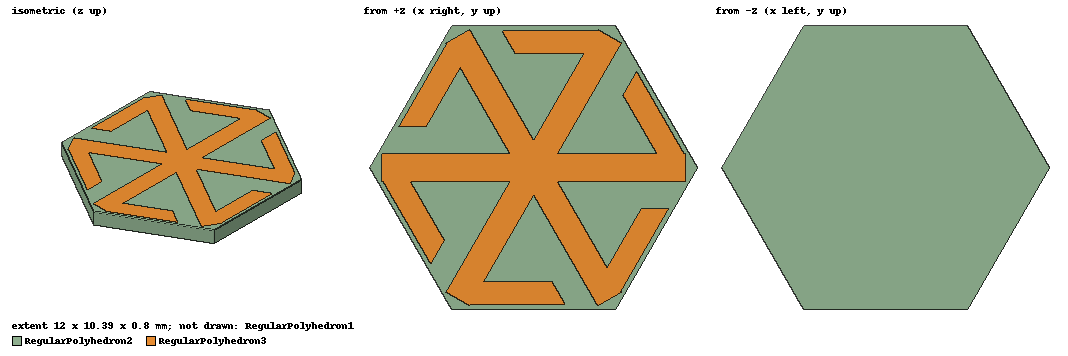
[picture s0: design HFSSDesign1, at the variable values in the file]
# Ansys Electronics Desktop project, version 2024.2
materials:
  vacuum: permittivity=1
  FR4_epoxy: permittivity=4.4 dielectric_loss_tangent=0.02
  copper: permeability=0.999991 conductivity=58000000

design HFSSDesign1 (HFSS, HFSS Modal Network, model units mm)
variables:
  ex = 0mm
  s = 6mm
  l = 5.8mm
  t = 1mm
  Ph = 8deg
  Th = 0deg
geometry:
  RegularPolyhedron1 [vacuum] = polyhedron(axis=Z, centre=(0mm, 0mm, 15mm), first_corner=(-s, 0mm, 15mm), sides=6, height=-30.8mm)
  RegularPolyhedron2 [FR4_epoxy] = polyhedron(axis=Z, centre=(0mm, 0mm, 0mm), first_corner=(-s, 0mm, 0mm), sides=6, height=-0.8mm)
  Rectangle4 = rectangle(corner=(-l+t/4, t/2, 0mm), x_size=l, y_size=-t)
  RegularPolyhedron3 [FR4_epoxy] = polyhedron(axis=Z, centre=(0mm, 0mm, 0mm), first_corner=(-l, 0mm, 0mm), sides=6, height=0mm)
  RegularPolyhedron4 = polyhedron(axis=Z, centre=(0mm, 0mm, 0mm), first_corner=(-l+t, 0mm, 0mm), sides=6, height=0mm)
  Rectangle5 = rectangle(corner=(-l-t, -t/2, 0mm), x_size=l+t+t, y_size=2*t)
  RegularPolyhedron3.subtract(RegularPolyhedron4)
  Rectangle5_1..Rectangle5_5 = Rectangle5.duplicate_around_axis(axis=Z, angle=60deg, total=6)
  Rectangle4_1..Rectangle4_5 = Rectangle4.duplicate_around_axis(axis=Z, angle=60deg, total=6)
  Rectangle5.unite(Rectangle5_1..Rectangle5_5)
  RegularPolyhedron3.subtract(Rectangle5)
  RegularPolyhedron3.unite(Rectangle4, Rectangle4_1..Rectangle4_5)
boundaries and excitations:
  Primary1: Primary Faces=RegularPolyhedron1.face(at (4.5, 2.59808, -0.4)) CoordSysVector{(6, 0, -15.8) -> (6, 0, 15)}
  Primary2: Primary Faces=RegularPolyhedron1.face(at (0, 5.19615, -0.4)) CoordSysVector{(3, 5.1961524, -15.8) -> (3, 5.1961524, 15)}
  Primary3: Primary Faces=RegularPolyhedron1.face(at (-4.5, 2.59808, -0.4)) CoordSysVector{(-3, 5.1961524, -15.8) -> (-3, 5.1961524, 15)}
  Secondary1: Secondary Faces=RegularPolyhedron1.face(at (-4.5, -2.59808, -0.4)) CoordSysVector{(-3, -5.1961524, -15.8) -> (-3, -5.1961524, 15)} ReverseV primary=Primary1 PhaseDelay=UseScanAngle Phi=Ph Theta=Th
  Secondary2: Secondary Faces=RegularPolyhedron1.face(at (0, -5.19615, -0.4)) CoordSysVector{(3, -5.1961524, -15.8) -> (3, -5.1961524, 15)} ReverseV primary=Primary2 PhaseDelay=UseScanAngle Phi=Ph Theta=Th
  Secondary3: Secondary Faces=RegularPolyhedron1.face(at (4.5, -2.59808, -0.4)) CoordSysVector{(6, 0, -15.8) -> (6, 0, 15)} ReverseV primary=Primary3 PhaseDelay=UseScanAngle Phi=Ph Theta=Th
  PerfE1: Perfect E Objects=RegularPolyhedron3
  FloquetPort1: Floquet Port Faces=RegularPolyhedron1.face(at (0, 0, 15)) NumModes=2 Modes{Mode1{CharImp=Zpi} Mode2{CharImp=Zpi}} PhaseDelay=UseScanAngle Phi=Ph Theta=Th LatticeAVector{(6, 0, 15) -> (-3, 5.1961524, 15)} LatticeBVector{(6, 0, 15) -> (-3, -5.1961524, 15)} ModesList{Mode{ModeNumber=1 IndexM=0 IndexN=0 KC2=0 PropagationState=Propagating Attenuation=0 PolarizationState=TE AffectsRefinement} Mode{ModeNumber=2 IndexM=0 IndexN=0 KC2=0 PropagationState=Propagating Attenuation=0 PolarizationState=TM AffectsRefinement}}
  FloquetPort2: Floquet Port Faces=RegularPolyhedron1.face(at (0, 0, -15.8)) NumModes=2 Modes{Mode1{CharImp=Zpi} Mode2{CharImp=Zpi}} PhaseDelay=UseScanAngle Phi=Ph Theta=Th LatticeAVector{(6, 0, -15.8) -> (-3, 5.1961524, -15.8)} LatticeBVector{(6, 0, -15.8) -> (-3, -5.1961524, -15.8)} ModesList{Mode{ModeNumber=1 IndexM=0 IndexN=0 KC2=0 PropagationState=Propagating Attenuation=0 PolarizationState=TE AffectsRefinement} Mode{ModeNumber=2 IndexM=0 IndexN=0 KC2=0 PropagationState=Propagating Attenuation=0 PolarizationState=TM AffectsRefinement}}
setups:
  Setup1: HfssDrivenAuto AutoSolverSetting=Balanced SaveAnyFields=false Type=Interpolating
    sweep Sweep: 0.1GHz to 30GHz step 0.01GHz;
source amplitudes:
  FloquetPort1:1: 1W 0deg
  FloquetPort1:2, FloquetPort2:1, FloquetPort2:2: 0W 0deg
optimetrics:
  ParametricSetup1: Parametric Sim._Setups=[Setup1]
    sweep t: LIN 0.2mm 0.7mm 0.1mm
    sweep l: 2.5mm
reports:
  S Parameter Plot 1: dB(S(FloquetPort1:1,FloquetPort1:1)), dB(S(FloquetPort2:1,FloquetPort1:1)), dB(S(FloquetPort1:1,FloquetPort1:1)), dB(S(FloquetPort2:1,FloquetPort1:1)) vs Freq on Setup1 : Sweep; markers MY1 at y=-10
  S Parameter Plot 2: dB(S(FloquetPort1:1,FloquetPort1:1)), dB(S(FloquetPort2:1,FloquetPort1:1)) vs Freq on Setup1 : Sweep
  S Parameter Plot 3: dB(S(FloquetPort1:1,FloquetPort1:1)), dB(S(FloquetPort2:1,FloquetPort1:1)) vs Freq on Setup1 : Sweep
  S Parameter Plot 4: dB(S(FloquetPort1:1,FloquetPort1:1)), dB(S(FloquetPort2:1,FloquetPort1:1)), dB(S(FloquetPort1:2,FloquetPort1:2)), dB(S(FloquetPort2:2,FloquetPort1:2)) vs Freq on Setup1 : Sweep
  S Parameter Plot 5: dB(S(FloquetPort1:1,FloquetPort1:1)), dB(S(FloquetPort2:1,FloquetPort1:1)), dB(S(FloquetPort1:2,FloquetPort1:2)), dB(S(FloquetPort2:2,FloquetPort1:2)) vs Freq on Setup1 : Sweep
  S Parameter Plot 6: dB(S(FloquetPort1:1,FloquetPort1:1)), dB(S(FloquetPort2:1,FloquetPort1:1)), dB(S(FloquetPort1:2,FloquetPort1:2)), dB(S(FloquetPort2:2,FloquetPort1:2)) vs Freq on Setup1 : Sweep
  S Parameter Plot 7: dB(S(FloquetPort1:1,FloquetPort1:1)), dB(S(FloquetPort2:1,FloquetPort1:1)), dB(S(FloquetPort1:2,FloquetPort1:2)), dB(S(FloquetPort2:2,FloquetPort1:2)) vs Freq on Setup1 : Sweep
  S Parameter Plot 8: dB(S(FloquetPort1:1,FloquetPort1:1)), dB(S(FloquetPort2:1,FloquetPort1:1)), dB(S(FloquetPort1:2,FloquetPort1:2)), dB(S(FloquetPort2:2,FloquetPort1:2)) vs Freq on Setup1 : Sweep
  S Parameter Plot 9: dB(S(FloquetPort1:1,FloquetPort1:1)), dB(S(FloquetPort2:1,FloquetPort1:1)), dB(S(FloquetPort1:2,FloquetPort1:2)), dB(S(FloquetPort2:2,FloquetPort1:2)) vs Freq on Setup1 : Sweep
  S Parameter Plot 10: dB(S(FloquetPort1:1,FloquetPort1:1)), dB(S(FloquetPort2:1,FloquetPort1:1)) vs Freq on Setup1 : Sweep
  S Parameter Plot 11: dB(S(FloquetPort1:1,FloquetPort1:1)), dB(S(FloquetPort2:1,FloquetPort1:1)) vs Freq on Setup1 : Sweep
  S Parameter Plot 12: dB(S(FloquetPort1:1,FloquetPort1:1)), dB(S(FloquetPort2:1,FloquetPort1:1)), dB(S(FloquetPort1:2,FloquetPort1:2)), dB(S(FloquetPort2:2,FloquetPort1:2)) vs Freq on Setup1 : Sweep
  S Parameter Plot 13: dB(S(FloquetPort1:1,FloquetPort1:1)), dB(S(FloquetPort2:1,FloquetPort1:1)), dB(S(FloquetPort1:2,FloquetPort1:2)), dB(S(FloquetPort2:2,FloquetPort1:2)) vs Freq on Setup1 : Sweep
  S Parameter Plot 14: dB(S(FloquetPort1:1,FloquetPort1:1)), dB(S(FloquetPort2:1,FloquetPort1:1)) vs Freq on Setup1 : Sweep [s=all]
